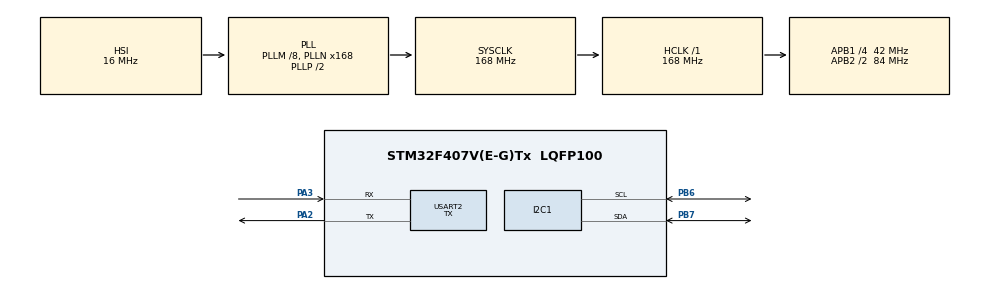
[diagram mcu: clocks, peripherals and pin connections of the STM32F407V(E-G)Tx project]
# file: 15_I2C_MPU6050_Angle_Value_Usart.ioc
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I2C1.DutyCycle=I2C_DUTYCYCLE_16_9
I2C1.I2C_Mode=I2C_Fast
Mcu.Family=STM32F4
Mcu.Name=STM32F407V(E-G)Tx
Mcu.Package=LQFP100
NVIC.PriorityGroup=NVIC_PRIORITYGROUP_4
PA13.Mode=Serial_Wire
PA13.Signal=SYS_JTMS-SWDIO
PA14.Mode=Serial_Wire
PA14.Signal=SYS_JTCK-SWCLK
PA2.Mode=Asynchronous
PA2.Signal=USART2_TX
PA3.Mode=Asynchronous
PA3.Signal=USART2_RX
PB6.Mode=I2C
PB6.Signal=I2C1_SCL
PB7.Mode=I2C
PB7.Signal=I2C1_SDA
ProjectManager.HeapSize=0x200
ProjectManager.StackSize=0x400
ProjectManager.TargetToolchain=MDK-ARM V5
RCC.48MHZClocksFreq_Value=84000000
RCC.AHBFreq_Value=168000000
RCC.APB1CLKDivider=RCC_HCLK_DIV4
RCC.APB1Freq_Value=42000000
RCC.APB1TimFreq_Value=84000000
RCC.APB2CLKDivider=RCC_HCLK_DIV2
RCC.APB2Freq_Value=84000000
RCC.APB2TimFreq_Value=168000000
RCC.CortexFreq_Value=168000000
RCC.HCLKFreq_Value=168000000
RCC.HSE_VALUE=25000000
RCC.HSI_VALUE=16000000
RCC.LSE_VALUE=32768
RCC.PLLM=8
RCC.PLLN=168
RCC.SYSCLKFreq_VALUE=168000000
RCC.SYSCLKSource=RCC_SYSCLKSOURCE_PLLCLK
RCC.VCOOutputFreq_Value=336000000
USART2.Mode=MODE_TX
USART2.VirtualMode=VM_ASYNC
board=15_I2C_MPU6050_Angle_Value_Usart

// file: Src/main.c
/**
  ******************************************************************************
  * File Name          : main.c
  * Description        : Main program body
  ******************************************************************************
  ** This notice applies to any and all portions of this file
  * that are not between comment pairs USER CODE BEGIN and
  * USER CODE END. Other portions of this file, whether
  * inserted by the user or by software development tools
  * are owned by their respective copyright owners.
  *
  * COPYRIGHT(c) 2018 STMicroelectronics
  *
  * Redistribution and use in source and binary forms, with or without modification,
  * are permitted provided that the following conditions are met:
  *   1. Redistributions of source code must retain the above copyright notice,
  *      this list of conditions and the following disclaimer.
  *   2. Redistributions in binary form must reproduce the above copyright notice,
  *      this list of conditions and the following disclaimer in the documentation
  *      and/or other materials provided with the distribution.
  *   3. Neither the name of STMicroelectronics nor the names of its contributors
  *      may be used to endorse or promote products derived from this software
  *      without specific prior written permission.
  *
  * THIS SOFTWARE IS PROVIDED BY THE COPYRIGHT HOLDERS AND CONTRIBUTORS "AS IS"
  * AND ANY EXPRESS OR IMPLIED WARRANTIES, INCLUDING, BUT NOT LIMITED TO, THE
  * IMPLIED WARRANTIES OF MERCHANTABILITY AND FITNESS FOR A PARTICULAR PURPOSE ARE
  * DISCLAIMED. IN NO EVENT SHALL THE COPYRIGHT HOLDER OR CONTRIBUTORS BE LIABLE
  * FOR ANY DIRECT, INDIRECT, INCIDENTAL, SPECIAL, EXEMPLARY, OR CONSEQUENTIAL
  * DAMAGES (INCLUDING, BUT NOT LIMITED TO, PROCUREMENT OF SUBSTITUTE GOODS OR
  * SERVICES; LOSS OF USE, DATA, OR PROFITS; OR BUSINESS INTERRUPTION) HOWEVER
  * CAUSED AND ON ANY THEORY OF LIABILITY, WHETHER IN CONTRACT, STRICT LIABILITY,
  * OR TORT (INCLUDING NEGLIGENCE OR OTHERWISE) ARISING IN ANY WAY OUT OF THE USE
  * OF THIS SOFTWARE, EVEN IF ADVISED OF THE POSSIBILITY OF SUCH DAMAGE.
  *
  ******************************************************************************
  */
#include "main.h"
#include "stm32f4xx_hal.h"
// eklenen libraryler:
#include "defines.h"
#include "tm_stm32_mpu6050.h"
#include <math.h> // önceki projeden farki .matematiksel hesaplamalar için....

/* USER CODE BEGIN Includes */
 float temperature=0;
 TM_MPU6050_t MPU6050_Sensor;
 char  data[120];

 unsigned long last_read_time;
 float        last_x_angle;  // these are the filtered angles
 float        last_y_angle;
 float        last_z_angle;
 float        last_gyro_x_angle;  // Store the gyro angles to compare drift
 float        last_gyro_y_angle;
 float        last_gyro_z_angle;

 void set_last_read_angle_data(unsigned long time,float x,float y,float z, float x_gyro,float y_gyro,float z_gyro)
 {
  last_read_time= time;
	last_x_angle=x;
	last_y_angle=y;
  last_z_angle=z;
  last_gyro_x_angle=x_gyro;
  last_gyro_y_angle=y_gyro;
  last_gyro_z_angle=z_gyro;

 }

 inline unsigned long get_last_time() {return last_read_time;}
 inline float get_last_x_angle() {return last_x_angle;}
 inline float get_last_y_angle(){return last_y_angle;}
 inline float get_last_z_angle(){return last_z_angle;}
 inline float get_last_gyro_x_angle() {return last_gyro_x_angle;}
 inline float get_last_gyro_y_angle(){return last_gyro_y_angle;}
 inline float get_last_gyro_z_angle(){return last_gyro_z_angle;}

 float base_x_gyro=0;
 float base_y_gyro=0;
 float base_z_gyro=0;
 float base_x_acce1=0;
 float base_y_acce1=0;
 float base_z_acce1=0;

 float gyro_angle_z=0;

 // this globasl variable tells us how to scale gyroscope data
 float GYRO_FACTOR=0;

 unsigned long t_now=0,t_last=0;
 float dt=0;
/* USER CODE END Includes */

I2C_HandleTypeDef hi2c1;

UART_HandleTypeDef huart2;

/* USER CODE BEGIN PV */
/* Private variables ---------------------------------------------------------*/

/* USER CODE END PV */

void SystemClock_Config(void);
static void MX_GPIO_Init(void);
static void MX_I2C1_Init(void);
static void MX_USART2_UART_Init(void);

/* USER CODE BEGIN PFP */
/* Private function prototypes -----------------------------------------------*/

/* USER CODE END PFP */

int main(void)
{

  /* MCU Configuration----------------------------------------------------------*/

  /* Reset of all peripherals, Initializes the Flash interface and the Systick. */
  HAL_Init();

  /* Configure the system clock */
  SystemClock_Config();

  /* Initialize all configured peripherals */
  MX_GPIO_Init();
  MX_I2C1_Init();
  MX_USART2_UART_Init();

  /* USER CODE BEGIN 2 */
while(TM_MPU6050_Init(&MPU6050_Sensor, TM_MPU6050_Device_0, TM_MPU6050_Accelerometer_8G, TM_MPU6050_Gyroscope_250s) != TM_MPU6050_Result_Ok)
 {

 }

 GYRO_FACTOR=131.0;
 const float RADIANS_TO_DEGREES= 57.2958;  // 180/pi
  /* USER CODE END 2 */
 set_last_read_angle_data(0,0,0,0,0,0,0); // ilk önce sifira setledik
 HAL_Delay(5000);
  /* Infinite loop */
  while (1)
  {
    HAL_Delay(200);

		t_last=HAL_GetTick(); // buraya kadar geçen süre
		// Read all data from sensor1;
		TM_MPU6050_ReadAll(&MPU6050_Sensor);
		t_now=HAL_GetTick();   // degerleri okuduktan sonraki süre
  /* USER CODE BEGIN 3 */
		float gyro_x=(MPU6050_Sensor.Gyroscope_X)/GYRO_FACTOR;
		float gyro_y=(MPU6050_Sensor.Gyroscope_Y)/GYRO_FACTOR;
		float gyro_z=(MPU6050_Sensor.Gyroscope_Z)/GYRO_FACTOR;

		float acce1_x= MPU6050_Sensor.Accelerometer_X;
    float acce1_y= MPU6050_Sensor.Accelerometer_Y;
    float acce1_z= MPU6050_Sensor.Accelerometer_Z;

		float acce1_angle_y=atan(-1*acce1_x/sqrt(pow(acce1_y,2) +pow(acce1_z,2)))*RADIANS_TO_DEGREES;
    float acce1_angle_x=atan(-1*acce1_y/sqrt(pow(acce1_x,2) +pow(acce1_z,2)))*RADIANS_TO_DEGREES;
    float acce1_angle_z=0;	 // accelerometer doens't give z-angle

		/* Compute the (filtered) gyro angles */
    dt=(t_now-get_last_time())/1000.0;

		float gyro_angle_x =gyro_x*dt+ get_last_x_angle();
		float gyro_angle_y =gyro_y*dt+ get_last_y_angle();

		int gz_threshold=2; // gyro z raw data fluctuation threshold value when gyro doens't move.it is up to ypue mpu6050.
		if(gyro_z<gz_threshold && gyro_z >-gz_threshold)
						gyro_z=0;

		gyro_angle_z=gyro_z*dt+get_last_gyro_z_angle();

		/* Compute the drifting gyro angles */

	  float unfiltered_gyro_angle_x=gyro_x*dt+get_last_gyro_x_angle();
		float unfiltered_gyro_angle_y=gyro_y*dt+get_last_gyro_y_angle();
		float unfiltered_gyro_angle_z=gyro_z*dt+get_last_gyro_z_angle();

		 // Apply the complemantary filter to figure out the change in angle - choice of alpha is
		  // estimated now. Alpha depends on the sampling rate...
		const float alpha=0.96;

		float angle_x=alpha*gyro_angle_x+(1.0f-alpha)*acce1_angle_x;
		float angle_y=alpha*gyro_angle_y+(1.0f-alpha)*acce1_angle_y;
		float angle_z=gyro_angle_z; // accelerometer doesn't give z-angle.

		// Update the saved data with the latest value:
		set_last_read_angle_data(t_now,angle_x,angle_y,angle_z,unfiltered_gyro_angle_x,unfiltered_gyro_angle_y,unfiltered_gyro_angle_z);

		/* Send the angle values to serial buffer  */
		HAL_UART_Transmit(&huart2,(uint8_t*)data,sprintf(data,
		"Angle values\n- X:%3.4f\n- Y:%3.4f\n- Z:%3.4f\nTemperature\n- %3.4f\n\n\n",
		angle_x,
		angle_y,
		angle_z,
		MPU6050_Sensor.Temperature
		),1000);

  }
  /* USER CODE END 3 */

}

/** System Clock Configuration
*/
void SystemClock_Config(void)
{

  RCC_OscInitTypeDef RCC_OscInitStruct;
  RCC_ClkInitTypeDef RCC_ClkInitStruct;

    /**Configure the main internal regulator output voltage
    */
  __HAL_RCC_PWR_CLK_ENABLE();

  __HAL_PWR_VOLTAGESCALING_CONFIG(PWR_REGULATOR_VOLTAGE_SCALE1);

    /**Initializes the CPU, AHB and APB busses clocks
    */
  RCC_OscInitStruct.OscillatorType = RCC_OSCILLATORTYPE_HSI;
  RCC_OscInitStruct.HSIState = RCC_HSI_ON;
  RCC_OscInitStruct.HSICalibrationValue = 16;
  RCC_OscInitStruct.PLL.PLLState = RCC_PLL_ON;
  RCC_OscInitStruct.PLL.PLLSource = RCC_PLLSOURCE_HSI;
  RCC_OscInitStruct.PLL.PLLM = 8;
  RCC_OscInitStruct.PLL.PLLN = 168;
  RCC_OscInitStruct.PLL.PLLP = RCC_PLLP_DIV2;
  RCC_OscInitStruct.PLL.PLLQ = 4;
  if (HAL_RCC_OscConfig(&RCC_OscInitStruct) != HAL_OK)
  {
    _Error_Handler(__FILE__, __LINE__);
  }

    /**Initializes the CPU, AHB and APB busses clocks
    */
  RCC_ClkInitStruct.ClockType = RCC_CLOCKTYPE_HCLK|RCC_CLOCKTYPE_SYSCLK
                              |RCC_CLOCKTYPE_PCLK1|RCC_CLOCKTYPE_PCLK2;
  RCC_ClkInitStruct.SYSCLKSource = RCC_SYSCLKSOURCE_PLLCLK;
  RCC_ClkInitStruct.AHBCLKDivider = RCC_SYSCLK_DIV1;
  RCC_ClkInitStruct.APB1CLKDivider = RCC_HCLK_DIV4;
  RCC_ClkInitStruct.APB2CLKDivider = RCC_HCLK_DIV2;

  if (HAL_RCC_ClockConfig(&RCC_ClkInitStruct, FLASH_LATENCY_5) != HAL_OK)
  {
    _Error_Handler(__FILE__, __LINE__);
  }

    /**Configure the Systick interrupt time
    */
  HAL_SYSTICK_Config(HAL_RCC_GetHCLKFreq()/1000);

    /**Configure the Systick
    */
  HAL_SYSTICK_CLKSourceConfig(SYSTICK_CLKSOURCE_HCLK);

  /* SysTick_IRQn interrupt configuration */
  HAL_NVIC_SetPriority(SysTick_IRQn, 0, 0);
}

/* I2C1 init function */
static void MX_I2C1_Init(void)
{

  hi2c1.Instance = I2C1;
  hi2c1.Init.ClockSpeed = 400000;
  hi2c1.Init.DutyCycle = I2C_DUTYCYCLE_16_9;
  hi2c1.Init.OwnAddress1 = 0;
  hi2c1.Init.AddressingMode = I2C_ADDRESSINGMODE_7BIT;
  hi2c1.Init.DualAddressMode = I2C_DUALADDRESS_DISABLE;
  hi2c1.Init.OwnAddress2 = 0;
  hi2c1.Init.GeneralCallMode = I2C_GENERALCALL_DISABLE;
  hi2c1.Init.NoStretchMode = I2C_NOSTRETCH_DISABLE;
  if (HAL_I2C_Init(&hi2c1) != HAL_OK)
  {
    _Error_Handler(__FILE__, __LINE__);
  }

}

/* USART2 init function */
static void MX_USART2_UART_Init(void)
{

  huart2.Instance = USART2;
  huart2.Init.BaudRate = 115200;
  huart2.Init.WordLength = UART_WORDLENGTH_8B;
  huart2.Init.StopBits = UART_STOPBITS_1;
  huart2.Init.Parity = UART_PARITY_NONE;
  huart2.Init.Mode = UART_MODE_TX;
  huart2.Init.HwFlowCtl = UART_HWCONTROL_NONE;
  huart2.Init.OverSampling = UART_OVERSAMPLING_16;
  if (HAL_UART_Init(&huart2) != HAL_OK)
  {
    _Error_Handler(__FILE__, __LINE__);
  }

}

/** Configure pins as
        * Analog
        * Input
        * Output
        * EVENT_OUT
        * EXTI
*/
static void MX_GPIO_Init(void)
{

  /* GPIO Ports Clock Enable */
  __HAL_RCC_GPIOA_CLK_ENABLE();
  __HAL_RCC_GPIOB_CLK_ENABLE();

}

void _Error_Handler(char * file, int line)
{
  while(1)
  {
  }
}

/************************ (C) COPYRIGHT STMicroelectronics *****END OF FILE****/
